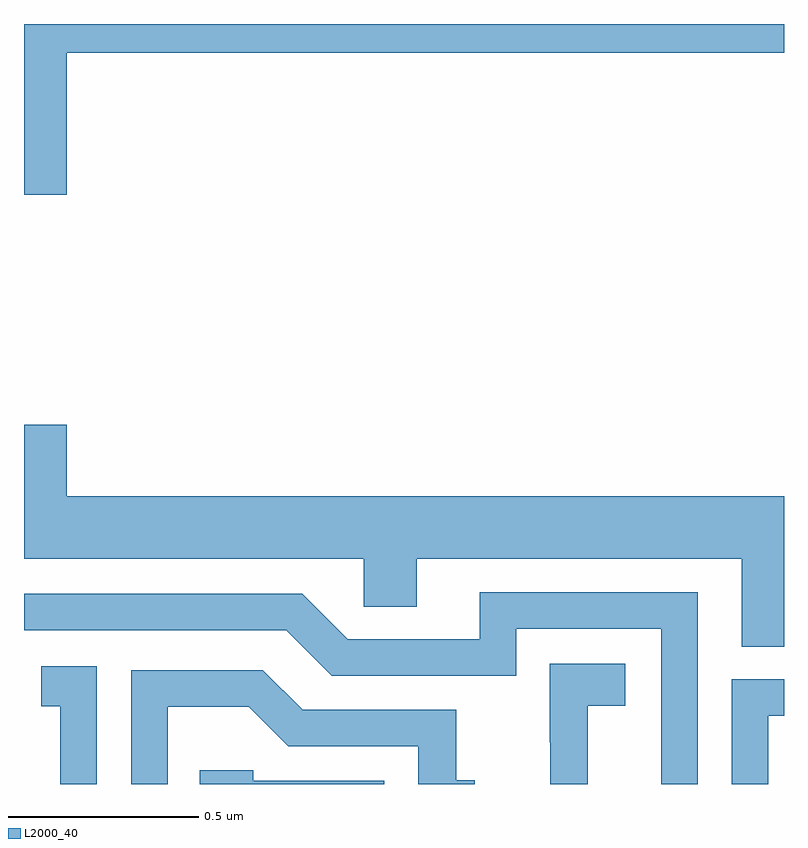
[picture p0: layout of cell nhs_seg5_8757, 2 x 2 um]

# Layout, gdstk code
import gdstk
lib = gdstk.Library(unit=1e-6, precision=1e-09)
def P(c, l, *ps):  # polygons
    for p in ps: c.add(gdstk.Polygon(p, *l))
L2000_40 = (2000, 40)

nhs_seg5_8757 = lib.new_cell('nhs_seg5_8757')
P(nhs_seg5_8757, L2000_40, [(225.112,892.724),(227,892.724),(227,892.799),(225,892.799),(225,892.35),(225.112,892.35)],
  [(227,891.556),(225.112,891.556),(225.112,891.745),(225,891.745),(225,891.392),(225.894,891.392),(225.894,891.265),(226.033,891.265),(226.033,891.392),(226.889,891.392),(226.889,891.16),(227,891.16)],
  [(226.773,891.303),(226.199,891.303),(226.199,891.18),(225.852,891.18),(225.732,891.3),(225,891.3),(225,891.204),(225.69,891.204),(225.81,891.084),(226.296,891.084),(226.296,891.207),(226.677,891.207),(226.677,890.799),(226.773,890.799)],
  [(226.484,891.005),(226.582,891.005),(226.582,891.115),(226.384,891.115),(226.384,890.909),(226.385,890.909),(226.385,890.799),(226.484,890.799)],
  [(225.192,891.109),(225.046,891.109),(225.046,891.003),(225.095,891.003),(225.095,890.799),(225.192,890.799)],
  [(225.378,891.002),(225.592,891.002),(225.696,890.898),(226.038,890.898),(226.038,890.799),(226.186,890.799),(226.186,890.809),(226.137,890.809),(226.137,890.994),(225.733,890.994),(225.628,891.099),(225.282,891.099),(225.282,890.799),(225.378,890.799)],
  [(226.959,890.979),(227,890.979),(227,891.075),(226.863,891.075),(226.863,890.799),(226.959,890.799)],
  [(225.948,890.808),(225.603,890.808),(225.603,890.835),(225.463,890.835),(225.463,890.799),(225.948,890.799)])

lib.write_gds('nhs_seg5_8757.gds')
